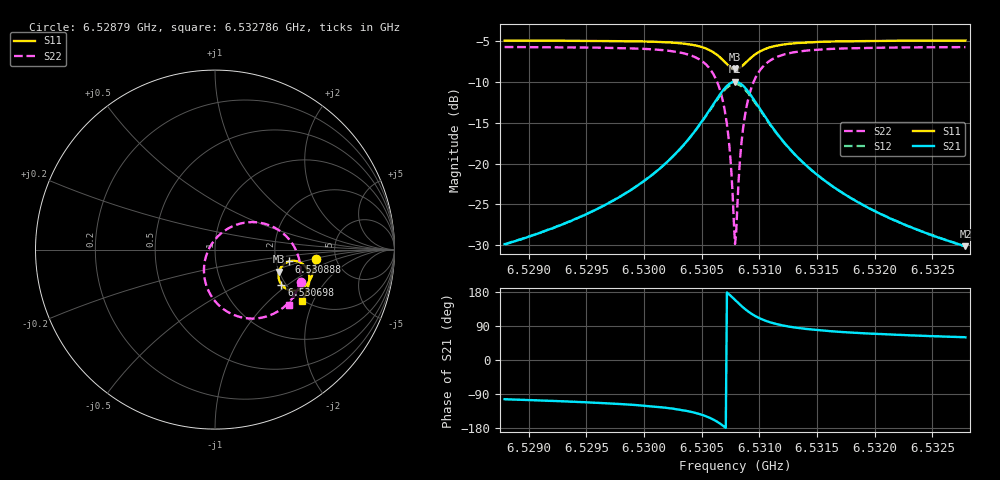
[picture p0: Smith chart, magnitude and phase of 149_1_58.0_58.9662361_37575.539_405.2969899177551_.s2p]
#  HZ  S  RI  R  50.00
! Rohde & Schwarz Vector Network Analyzer
! Rohde-Schwarz,ZNB20-2Port,1311601062101988,3.16
! Created: UTC 3/21/2024, 12:56:56 AM
! freq[Hz]  re:S11  im:S11  re:S21  im:S21  re:S12  im:S12  re:S22  im:S22
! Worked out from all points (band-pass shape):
!   401 points, 6.52879 GHz to 6.532786 GHz, reference 50 ohm
!   highest |S21| = -10.01 dB at 6.530788 GHz (marker M1); lowest = -30.1 dB at 6.532786 GHz (marker M2)
!   |S21| within 3 dB of the highest: 6.530589 GHz to 6.530989 GHz (400.5 kHz wide, 0.00613 % of centre)
!   lowest |S11| = -8.5 dB at 6.530788 GHz (marker M3), VSWR 2.21, Z = 99.9 - j28.7 ohm
!   |S11| at or under -10 dB: nowhere
!   |S22| runs from -29.8 to -5.8 dB; largest |S21 - S12| = 0.013
!   S11 on the Smith chart (normalised r, x): 6.52879 GHz: 3.49, -0.53; 6.530698 GHz: 1.90, -0.90; 6.530888 GHz: 2.36, -0.38; 6.532786 GHz: 1.96, -1.66
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6.5287904e9  0.5605 -0.0524  -0.0075 -0.0313  -0.00819 -0.0311  0.4814 -0.1825
6.5294597e9  0.5511 -0.1089  -0.0171 -0.0444  -0.0182 -0.0442  0.4491 -0.2453
6.5298194e9  0.5408 -0.1431  -0.029 -0.0576  -0.0306 -0.0568  0.4173 -0.288
6.530129e9  0.5241 -0.1774  -0.0518 -0.0764  -0.054 -0.0749  0.3648 -0.3347
6.5303588e9  0.4971 -0.2077  -0.0926 -0.0966  -0.0956 -0.0932  0.2816 -0.374
6.5305286e9  0.4527 -0.2277  -0.1626 -0.1035  -0.1653 -0.0965  0.1522 -0.3786
6.5306285e9  0.4066 -0.2228  -0.2345 -0.0765  -0.2336 -0.0664  0.0322 -0.3194
6.5306985e9  0.3702 -0.195  -0.2873 -0.0166  -0.2812 -0.0059  -0.0455 -0.208
6.5307384e9  0.3565 -0.1663  -0.3039 0.0379  -0.2944 0.0465  -0.0618 -0.1146
6.5307784e9  0.3548 -0.1319  -0.2992 0.1001  -0.2877 0.105  -0.0418 -0.0136
6.5307884e9  0.3566 -0.1233  -0.2942 0.1153  -0.2825 0.1192  -0.0305 0.0104
6.5307984e9  0.3595 -0.1149  -0.2878 0.13  -0.2761 0.1329  -0.017 0.0332
6.5308083e9  0.3632 -0.1067  -0.2798 0.1441  -0.2683 0.1458  -0.00125 0.0543
6.5308283e9  0.3728 -0.0923  -0.2603 0.1689  -0.2495 0.1688  0.0353 0.0914
6.5308483e9  0.385 -0.0805  -0.2374 0.1889  -0.2276 0.1873  0.0766 0.1196
6.5308883e9  0.4125 -0.0661  -0.1874 0.2129  -0.1801 0.2097  0.1639 0.1498
6.5309582e9  0.4568 -0.0647  -0.1097 0.2155  -0.106 0.2121  0.2943 0.1387
6.5310581e9  0.4959 -0.0866  -0.0426 0.1839  -0.041 0.1822  0.4023 0.0689
6.5312079e9  0.5192 -0.1227  -0.0021 0.1363  -0.000814 0.1355  0.4614 -0.0288
6.5314577e9  0.5257 -0.1664  0.0154 0.089  0.0165 0.0888  0.4762 -0.1284
6.532127e9  0.5096 -0.2377  0.0178 0.0428  0.0187 0.0426  0.4476 -0.246
6.5327863e9  0.4855 -0.2885  0.0157 0.027  0.0162 0.0268  0.4132 -0.3059
